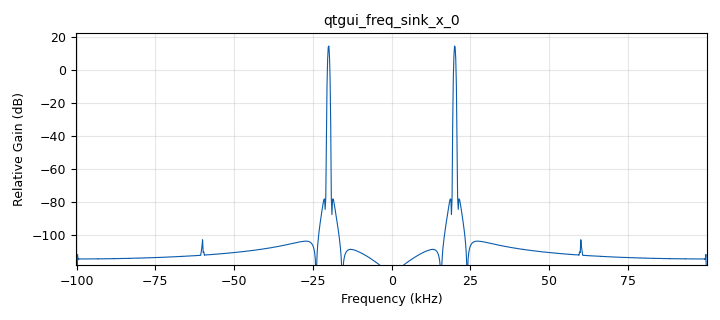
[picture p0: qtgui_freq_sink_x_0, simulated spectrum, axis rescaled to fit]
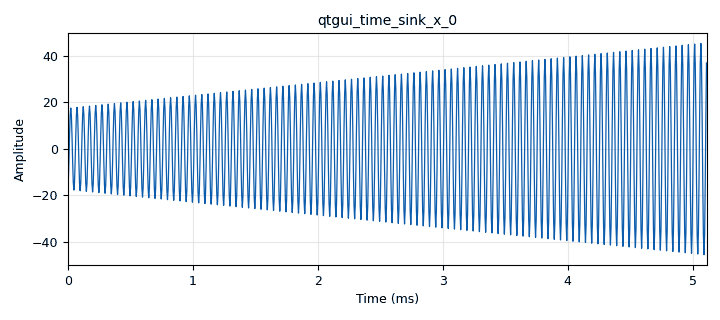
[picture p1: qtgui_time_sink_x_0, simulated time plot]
options:
  parameters:
    author: J1B grupo 2
    generate_options: qt_gui
    id: W_CALC
    output_language: python
    title: W_CALC
  states: {}

blocks:
- name: amplitud
  id: variable_qtgui_range
  parameters:
    label: amplitud
    start: '0'
    step: '1'
    stop: '100'
    value: '10'
  states: {}
- name: samp_rate
  id: variable
  parameters:
    value: 20016*10
  states: {}
- name: CalculoPotenciaComunicaciones_0
  id: CalculoPotenciaComunicaciones
  parameters:
    l_vect: '1024'
  states: {}
- name: analog_sig_source_x_0
  id: analog_sig_source_x
  parameters:
    amp: amplitud
    freq: '55'
    offset: '0'
    phase: '0'
    samp_rate: samp_rate
    type: float
    waveform: analog.GR_SAW_WAVE
  states: {}
- name: analog_sig_source_x_0_0
  id: analog_sig_source_x
  parameters:
    amp: amplitud
    freq: '20016'
    offset: '0'
    phase: '0'
    samp_rate: samp_rate
    type: float
    waveform: analog.GR_COS_WAVE
  states: {}
- name: blocks_multiply_xx_0
  id: blocks_multiply_xx
  parameters:
    type: float
  states: {}
- name: qtgui_freq_sink_x_0
  id: qtgui_freq_sink_x
  parameters:
    bw: samp_rate
    fc: '0'
    fftsize: '1024'
    type: float
  states: {}
- name: qtgui_time_sink_x_0
  id: qtgui_time_sink_x
  parameters:
    autoscale: 'True'
    size: '1024'
    srate: samp_rate
    type: float
  states: {}

connections:
- [analog_sig_source_x_0, '0', blocks_multiply_xx_0, '0']
- [analog_sig_source_x_0_0, '0', blocks_multiply_xx_0, '1']
- [blocks_multiply_xx_0, '0', CalculoPotenciaComunicaciones_0, '0']
- [blocks_multiply_xx_0, '0', qtgui_freq_sink_x_0, '0']
- [blocks_multiply_xx_0, '0', qtgui_time_sink_x_0, '0']

metadata:
  file_format: 1
  grc_version: 3.10.2.0
